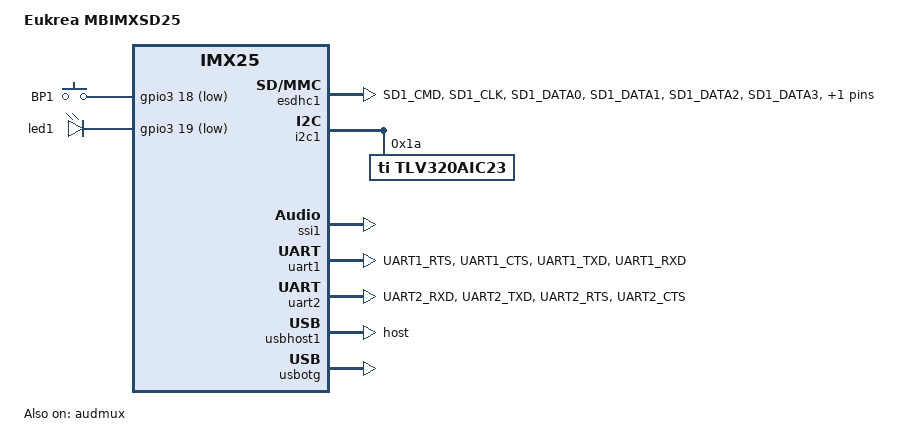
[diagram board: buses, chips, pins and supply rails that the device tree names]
/*
 * Copyright 2013 Eukréa Electromatique <denis@eukrea.com>
 *
 * This program is free software; you can redistribute it and/or
 * modify it under the terms of the GNU General Public License
 * as published by the Free Software Foundation; either version 2
 * of the License, or (at your option) any later version.
 * This program is distributed in the hope that it will be useful,
 * but WITHOUT ANY WARRANTY; without even the implied warranty of
 * MERCHANTABILITY or FITNESS FOR A PARTICULAR PURPOSE.  See the
 * GNU General Public License for more details.
 */

/dts-v1/;

#include <dt-bindings/gpio/gpio.h>
#include <dt-bindings/input/input.h>
#include "imx25-eukrea-cpuimx25.dtsi"

/ {
	model = "Eukrea MBIMXSD25";
	compatible = "eukrea,mbimxsd25-baseboard", "eukrea,cpuimx25", "fsl,imx25";

	gpio_keys {
		compatible = "gpio-keys";
		pinctrl-names = "default";
		pinctrl-0 = <&pinctrl_gpiokeys>;

		bp1 {
			label = "BP1";
			gpios = <&gpio3 18 GPIO_ACTIVE_LOW>;
			linux,code = <BTN_MISC>;
			wakeup-source;
		};
	};

	leds {
		compatible = "gpio-leds";
		pinctrl-names = "default";
		pinctrl-0 = <&pinctrl_gpioled>;

		led1 {
			label = "led1";
			gpios = <&gpio3 19 GPIO_ACTIVE_LOW>;
			linux,default-trigger = "heartbeat";
		};
	};

	sound {
		compatible = "eukrea,asoc-tlv320";
		eukrea,model = "imx25-eukrea-tlv320aic23";
		ssi-controller = <&ssi1>;
		fsl,mux-int-port = <1>;
		fsl,mux-ext-port = <5>;
	};
};

&audmux {
	pinctrl-names = "default";
	pinctrl-0 = <&pinctrl_audmux>;
	status = "okay";
};

&esdhc1 {
	pinctrl-names = "default";
	pinctrl-0 = <&pinctrl_esdhc1>;
	cd-gpios = <&gpio1 20>;
	status = "okay";
};

&i2c1 {
	tlv320aic23: codec@1a {
		compatible = "ti,tlv320aic23";
		reg = <0x1a>;
	};
};

&iomuxc {
	imx25-eukrea-mbimxsd25-baseboard {
		pinctrl_audmux: audmuxgrp {
			fsl,pins = <
				MX25_PAD_KPP_COL3__AUD5_TXFS		0xe0
				MX25_PAD_KPP_COL2__AUD5_TXC		0xe0
				MX25_PAD_KPP_COL1__AUD5_RXD		0xe0
				MX25_PAD_KPP_COL0__AUD5_TXD		0xe0
			>;
		};

		pinctrl_esdhc1: esdhc1grp {
			fsl,pins = <
				MX25_PAD_SD1_CMD__SD1_CMD		0x400000c0
				MX25_PAD_SD1_CLK__SD1_CLK		0x400000c0
				MX25_PAD_SD1_DATA0__SD1_DATA0		0x400000c0
				MX25_PAD_SD1_DATA1__SD1_DATA1		0x400000c0
				MX25_PAD_SD1_DATA2__SD1_DATA2		0x400000c0
				MX25_PAD_SD1_DATA3__SD1_DATA3		0x400000c0
			>;
		};

		pinctrl_gpiokeys: gpiokeysgrp {
			fsl,pins = <MX25_PAD_VSTBY_ACK__GPIO_3_18 0x80000000>;
		};

		pinctrl_gpioled: gpioledgrp {
			fsl,pins = <MX25_PAD_POWER_FAIL__GPIO_3_19 0x80000000>;
		};

		pinctrl_lcdc: lcdcgrp {
			fsl,pins = <
				MX25_PAD_LD0__LD0			0x1
				MX25_PAD_LD1__LD1			0x1
				MX25_PAD_LD2__LD2			0x1
				MX25_PAD_LD3__LD3			0x1
				MX25_PAD_LD4__LD4			0x1
				MX25_PAD_LD5__LD5			0x1
				MX25_PAD_LD6__LD6			0x1
				MX25_PAD_LD7__LD7			0x1
				MX25_PAD_LD8__LD8			0x1
				MX25_PAD_LD9__LD9			0x1
				MX25_PAD_LD10__LD10			0x1
				MX25_PAD_LD11__LD11			0x1
				MX25_PAD_LD12__LD12			0x1
				MX25_PAD_LD13__LD13			0x1
				MX25_PAD_LD14__LD14			0x1
				MX25_PAD_LD15__LD15			0x1
				MX25_PAD_GPIO_E__LD16			0x1
				MX25_PAD_GPIO_F__LD17			0x1
				MX25_PAD_HSYNC__HSYNC			0x80000000
				MX25_PAD_VSYNC__VSYNC			0x80000000
				MX25_PAD_LSCLK__LSCLK			0x80000000
				MX25_PAD_OE_ACD__OE_ACD			0x80000000
				MX25_PAD_CONTRAST__CONTRAST		0x80000000
			>;
		};

		pinctrl_uart1: uart1grp {
			fsl,pins = <
				MX25_PAD_UART1_RTS__UART1_RTS		0xe0
				MX25_PAD_UART1_CTS__UART1_CTS		0xe0
				MX25_PAD_UART1_TXD__UART1_TXD		0x80000000
				MX25_PAD_UART1_RXD__UART1_RXD		0xc0
			>;
		};

		pinctrl_uart2: uart2grp {
			fsl,pins = <
				MX25_PAD_UART2_RXD__UART2_RXD		0x80000000
				MX25_PAD_UART2_TXD__UART2_TXD		0x80000000
				MX25_PAD_UART2_RTS__UART2_RTS		0x80000000
				MX25_PAD_UART2_CTS__UART2_CTS		0x80000000
			>;
		};
	};
};

&ssi1 {
	codec-handle = <&tlv320aic23>;
	status = "okay";
};

&uart1 {
	pinctrl-names = "default";
	pinctrl-0 = <&pinctrl_uart1>;
	uart-has-rtscts;
	status = "okay";
};

&uart2 {
	pinctrl-names = "default";
	pinctrl-0 = <&pinctrl_uart2>;
	uart-has-rtscts;
	status = "okay";
};

&usbhost1 {
	phy_type = "serial";
	dr_mode = "host";
	status = "okay";
};

&usbotg {
	external-vbus-divider;
	status = "okay";
};
